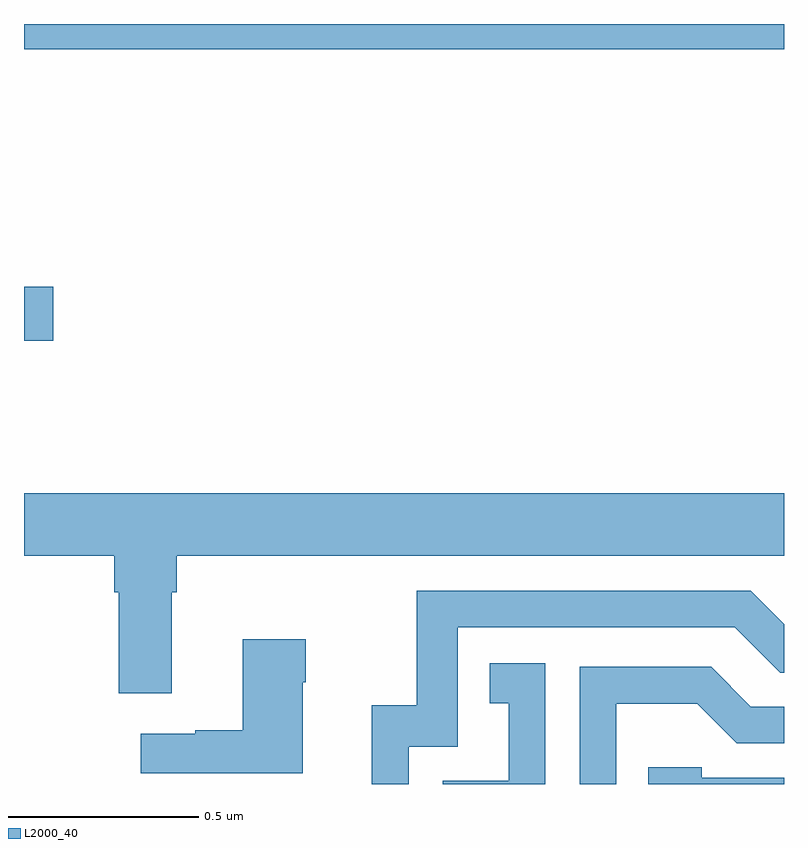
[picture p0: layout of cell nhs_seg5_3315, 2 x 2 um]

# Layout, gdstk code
import gdstk
lib = gdstk.Library(unit=1e-6, precision=1e-09)
def R(c, l, rs):  # rectangles x0, y0, x1, y1
    for r in rs: c.add(gdstk.rectangle(r[:2], r[2:], *l))
def P(c, l, *ps):  # polygons
    for p in ps: c.add(gdstk.Polygon(p, *l))
L2000_40 = (2000, 40)

nhs_seg5_3315 = lib.new_cell('nhs_seg5_3315')
R(nhs_seg5_3315, L2000_40, [(155,883.966,155.077,884.108), (155,884.732,157,884.799)])
P(nhs_seg5_3315, L2000_40, [(155.389,883.304),(155.402,883.304),(155.402,883.4),(157,883.4),(157,883.564),(155,883.564),(155,883.4),(155.237,883.4),(155.237,883.304),(155.249,883.304),(155.249,883.038),(155.389,883.038)],
  [(156.012,882.897),(156.141,882.897),(156.141,883.212),(156.87,883.212),(156.99,883.092),(157,883.092),(157,883.22),(156.912,883.308),(156.033,883.308),(156.033,883.006),(155.915,883.006),(155.915,882.799),(156.012,882.799)],
  [(155.734,883.067),(155.742,883.067),(155.742,883.18),(155.576,883.18),(155.576,882.941),(155.45,882.941),(155.45,882.931),(155.307,882.931),(155.307,882.827),(155.734,882.827)],
  [(156.372,883.117),(156.226,883.117),(156.226,883.011),(156.275,883.011),(156.275,882.807),(156.102,882.807),(156.102,882.799),(156.372,882.799)],
  [(156.558,883.01),(156.772,883.01),(156.876,882.906),(157,882.906),(157,883.002),(156.913,883.002),(156.808,883.107),(156.462,883.107),(156.462,882.799),(156.558,882.799)],
  [(157,882.816),(156.783,882.816),(156.783,882.843),(156.643,882.843),(156.643,882.799),(157,882.799)])

lib.write_gds('nhs_seg5_3315.gds')
